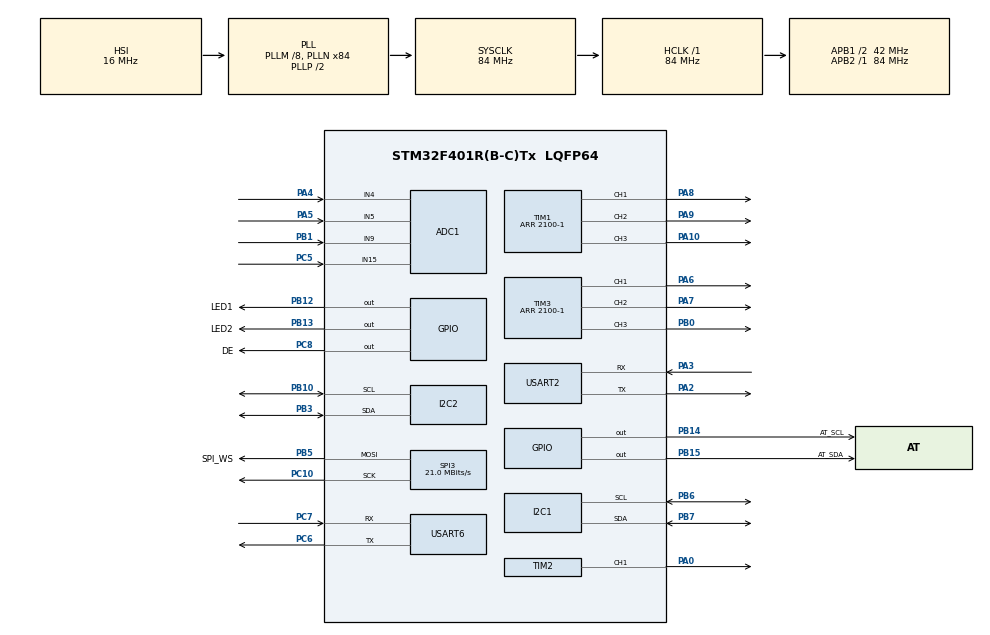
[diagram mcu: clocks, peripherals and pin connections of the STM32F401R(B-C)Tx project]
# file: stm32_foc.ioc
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ADC1.Channel-24\#ChannelRegularConversion=ADC_CHANNEL_9
ADC1.Channel-25\#ChannelInjectedConversion=ADC_CHANNEL_5
ADC1.Channel-26\#ChannelInjectedConversion=ADC_CHANNEL_4
ADC1.Channel-29\#ChannelRegularConversion=ADC_CHANNEL_15
ADC1.ExternalTrigConv=ADC_EXTERNALTRIGCONV_T3_TRGO
ADC1.ExternalTrigInjecConv=ADC_EXTERNALTRIGINJECCONV_T1_CC4
ADC1.InjNumberOfConversion=2
ADC1.InjectedOffset-25\#ChannelInjectedConversion=0
ADC1.InjectedOffset-26\#ChannelInjectedConversion=0
ADC1.InjectedRank-25\#ChannelInjectedConversion=1
ADC1.InjectedRank-26\#ChannelInjectedConversion=2
ADC1.NbrOfConversion=2
ADC1.NbrOfConversionFlag=1
ADC1.Rank-24\#ChannelRegularConversion=1
ADC1.Rank-29\#ChannelRegularConversion=2
ADC1.SamplingTime-24\#ChannelRegularConversion=ADC_SAMPLETIME_144CYCLES
ADC1.SamplingTime-25\#ChannelInjectedConversion=ADC_SAMPLETIME_84CYCLES
ADC1.SamplingTime-26\#ChannelInjectedConversion=ADC_SAMPLETIME_84CYCLES
ADC1.SamplingTime-29\#ChannelRegularConversion=ADC_SAMPLETIME_144CYCLES
ADC1.master=1
Dma.ADC1.0.Direction=DMA_PERIPH_TO_MEMORY
Dma.ADC1.0.FIFOMode=DMA_FIFOMODE_DISABLE
Dma.ADC1.0.Instance=DMA2_Stream0
Dma.ADC1.0.MemDataAlignment=DMA_MDATAALIGN_HALFWORD
Dma.ADC1.0.MemInc=DMA_MINC_ENABLE
Dma.ADC1.0.Mode=DMA_CIRCULAR
Dma.ADC1.0.PeriphDataAlignment=DMA_PDATAALIGN_HALFWORD
Dma.ADC1.0.PeriphInc=DMA_PINC_DISABLE
Dma.ADC1.0.Priority=DMA_PRIORITY_LOW
Dma.Request0=ADC1
Dma.Request1=USART6_RX
Dma.Request2=USART6_TX
Dma.USART6_RX.1.Direction=DMA_PERIPH_TO_MEMORY
Dma.USART6_RX.1.FIFOMode=DMA_FIFOMODE_DISABLE
Dma.USART6_RX.1.Instance=DMA2_Stream1
Dma.USART6_RX.1.MemDataAlignment=DMA_MDATAALIGN_BYTE
Dma.USART6_RX.1.MemInc=DMA_MINC_ENABLE
Dma.USART6_RX.1.Mode=DMA_CIRCULAR
Dma.USART6_RX.1.PeriphDataAlignment=DMA_PDATAALIGN_BYTE
Dma.USART6_RX.1.PeriphInc=DMA_PINC_DISABLE
Dma.USART6_RX.1.Priority=DMA_PRIORITY_LOW
Dma.USART6_TX.2.Direction=DMA_MEMORY_TO_PERIPH
Dma.USART6_TX.2.FIFOMode=DMA_FIFOMODE_DISABLE
Dma.USART6_TX.2.Instance=DMA2_Stream6
Dma.USART6_TX.2.MemDataAlignment=DMA_MDATAALIGN_BYTE
Dma.USART6_TX.2.MemInc=DMA_MINC_ENABLE
Dma.USART6_TX.2.Mode=DMA_NORMAL
Dma.USART6_TX.2.PeriphDataAlignment=DMA_PDATAALIGN_BYTE
Dma.USART6_TX.2.PeriphInc=DMA_PINC_DISABLE
Dma.USART6_TX.2.Priority=DMA_PRIORITY_LOW
I2C1.I2C_Mode=I2C_Standard
I2C2.I2C_Mode=I2C_Fast
Mcu.Family=STM32F4
Mcu.Name=STM32F401R(B-C)Tx
Mcu.Package=LQFP64
NVIC.ADC_IRQn=true\:0\:0\:false\:false\:true\:true\:true\:true
NVIC.DMA2_Stream0_IRQn=true\:0\:0\:false\:false\:true\:false\:true\:true
NVIC.DMA2_Stream1_IRQn=true\:0\:0\:false\:false\:true\:false\:true\:true
NVIC.DMA2_Stream6_IRQn=true\:0\:0\:false\:false\:true\:false\:true\:true
NVIC.PriorityGroup=NVIC_PRIORITYGROUP_4
NVIC.USART2_IRQn=true\:0\:0\:false\:false\:true\:true\:true\:true
NVIC.USART6_IRQn=true\:0\:0\:false\:false\:true\:true\:true\:true
PA0-WKUP.Signal=S_TIM2_CH1_ETR
PA10.GPIO_Speed=GPIO_SPEED_FREQ_HIGH
PA10.Signal=S_TIM1_CH3
PA13.Mode=Serial_Wire
PA13.Signal=SYS_JTMS-SWDIO
PA14.Mode=Serial_Wire
PA14.Signal=SYS_JTCK-SWCLK
PA2.Mode=Asynchronous
PA2.Signal=USART2_TX
PA3.Mode=Asynchronous
PA3.Signal=USART2_RX
PA4.Signal=ADCx_IN4
PA5.Signal=ADCx_IN5
PA6.GPIO_Speed=GPIO_SPEED_FREQ_HIGH
PA6.Signal=S_TIM3_CH1
PA7.GPIO_Speed=GPIO_SPEED_FREQ_HIGH
PA7.Signal=S_TIM3_CH2
PA8.GPIO_PuPd=GPIO_NOPULL
PA8.GPIO_Speed=GPIO_SPEED_FREQ_HIGH
PA8.Signal=S_TIM1_CH1
PA9.GPIO_PuPd=GPIO_NOPULL
PA9.GPIO_Speed=GPIO_SPEED_FREQ_HIGH
PA9.Signal=S_TIM1_CH2
PB0.GPIO_Speed=GPIO_SPEED_FREQ_HIGH
PB0.Signal=S_TIM3_CH3
PB1.Signal=ADCx_IN9
PB10.Mode=I2C
PB10.Signal=I2C2_SCL
PB12.GPIO_Label=LED1
PB12.Signal=GPIO_Output
PB13.GPIO_Label=LED2
PB13.Signal=GPIO_Output
PB14.GPIO_Label=AT_SCL
PB14.Signal=GPIO_Output
PB15.GPIO_Label=AT_SDA
PB15.Signal=GPIO_Output
PB3.Mode=I2C
PB3.Signal=I2C2_SDA
PB5.GPIO_Label=SPI_WS
PB5.Mode=TX_Only_Simplex_Unidirect_Master
PB5.Signal=SPI3_MOSI
PB6.Mode=I2C
PB6.Signal=I2C1_SCL
PB7.Mode=I2C
PB7.Signal=I2C1_SDA
PC10.Mode=TX_Only_Simplex_Unidirect_Master
PC10.Signal=SPI3_SCK
PC5.Signal=ADCx_IN15
PC6.Mode=Asynchronous
PC6.Signal=USART6_TX
PC7.Mode=Asynchronous
PC7.Signal=USART6_RX
PC8.GPIO_Label=DE
PC8.GPIO_PuPd=GPIO_PULLDOWN
PC8.Signal=GPIO_Output
PH0\ -\ OSC_IN.Mode=HSE-External-Clock-Source
PH0\ -\ OSC_IN.Signal=RCC_OSC_IN
PH1\ -\ OSC_OUT.Mode=HSE-External-Clock-Source
PH1\ -\ OSC_OUT.Signal=RCC_OSC_OUT
ProjectManager.HeapSize=0x200
ProjectManager.StackSize=0x400
ProjectManager.TargetToolchain=MDK-ARM V5.32
RCC.48MHZClocksFreq_Value=42000000
RCC.AHBFreq_Value=84000000
RCC.APB1CLKDivider=RCC_HCLK_DIV2
RCC.APB1Freq_Value=42000000
RCC.APB1TimFreq_Value=84000000
RCC.APB2Freq_Value=84000000
RCC.APB2TimFreq_Value=84000000
RCC.CortexFreq_Value=84000000
RCC.HCLKFreq_Value=84000000
RCC.HSE_VALUE=8000000
RCC.HSI_VALUE=16000000
RCC.LSE_VALUE=32768
RCC.PLLM=8
RCC.PLLN=84
RCC.SYSCLKFreq_VALUE=84000000
RCC.SYSCLKSource=RCC_SYSCLKSOURCE_PLLCLK
RCC.VCOOutputFreq_Value=168000000
SH.ADCx_IN15.0=ADC1_IN15,IN15
SH.ADCx_IN4.0=ADC1_IN4,IN4
SH.ADCx_IN5.0=ADC1_IN5,IN5
SH.ADCx_IN9.0=ADC1_IN9,IN9
SH.S_TIM1_CH1.0=TIM1_CH1,PWM Generation1 CH1
SH.S_TIM1_CH2.0=TIM1_CH2,PWM Generation2 CH2
SH.S_TIM1_CH3.0=TIM1_CH3,PWM Generation3 CH3
SH.S_TIM2_CH1_ETR.0=TIM2_CH1,PWM Generation1 CH1
SH.S_TIM3_CH1.0=TIM3_CH1,Output Compare1 CH1
SH.S_TIM3_CH2.0=TIM3_CH2,Output Compare2 CH2
SH.S_TIM3_CH3.0=TIM3_CH3,Output Compare3 CH3
SPI3.CalculateBaudRate=21.0 MBits/s
SPI3.Direction=SPI_DIRECTION_2LINES
SPI3.Mode=SPI_MODE_MASTER
SPI3.VirtualType=VM_MASTER
TIM1.Channel-PWM\ Generation1\ CH1=TIM_CHANNEL_1
TIM1.Channel-PWM\ Generation2\ CH2=TIM_CHANNEL_2
TIM1.Channel-PWM\ Generation3\ CH3=TIM_CHANNEL_3
TIM1.Channel-PWM\ Generation4\ No\ Output=TIM_CHANNEL_4
TIM1.CounterMode=TIM_COUNTERMODE_CENTERALIGNED1
TIM1.OCMode_PWM-PWM\ Generation4\ No\ Output=TIM_OCMODE_PWM2
TIM1.Period=2100-1
TIM1.Pulse-PWM\ Generation4\ No\ Output=1800-1
TIM2.Channel-PWM\ Generation1\ CH1=TIM_CHANNEL_1
TIM3.Channel-Output\ Compare1\ CH1=TIM_CHANNEL_1
TIM3.Channel-Output\ Compare2\ CH2=TIM_CHANNEL_2
TIM3.Channel-Output\ Compare3\ CH3=TIM_CHANNEL_3
TIM3.Period=2100-1
TIM3.TIM_MasterOutputTrigger=TIM_TRGO_UPDATE
USART2.VirtualMode=VM_ASYNC
USART6.VirtualMode=VM_ASYNC
VP_TIM1_VS_ClockSourceINT.Mode=Internal
VP_TIM1_VS_no_output4.Mode=PWM Generation4 No Output
VP_TIM2_VS_ClockSourceINT.Mode=Internal
VP_TIM3_VS_ClockSourceINT.Mode=Internal
board=custom

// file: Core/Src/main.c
/* USER CODE BEGIN Header */
/**
  ******************************************************************************
  * @file           : main.c
  * @brief          : Main program body
  ******************************************************************************
  * @attention
  *
  * Copyright (c) 2026 STMicroelectronics.
  * All rights reserved.
  *
  * This software is licensed under terms that can be found in the LICENSE file
  * in the root directory of this software component.
  * If no LICENSE file comes with this software, it is provided AS-IS.
  *
  ******************************************************************************
  */
/* USER CODE END Header */
#include "main.h"
#include "adc.h"
#include "dma.h"
#include "i2c.h"
#include "spi.h"
#include "tim.h"
#include "usart.h"
#include "gpio.h"

/* USER CODE BEGIN Includes */
#include "current.h"
#include "as5600.h"
#include "foc_math.h"
#include "pi_controller.h"
#include "motor_pwm.h"
#include "motor_cli.h"
#include "vofa.h"
#include <stdio.h>
#include "debug.h"
/* USER CODE END Includes */

/* USER CODE BEGIN PTD */
#define LED1_ON  HAL_GPIO_WritePin(LED1_GPIO_Port,LED1_Pin,GPIO_PIN_SET)
#define LED1_OFF  HAL_GPIO_WritePin(LED1_GPIO_Port,LED1_Pin,GPIO_PIN_RESET)
#define LED2_ON  HAL_GPIO_WritePin(LED2_GPIO_Port,LED2_Pin,GPIO_PIN_SET)
#define LED2_OFF  HAL_GPIO_WritePin(LED2_GPIO_Port,LED2_Pin,GPIO_PIN_RESET)
#define MOTOR2_ALIGN_VOLTAGE 0.5f

typedef enum
{
    MOTOR2_STATE_CALIBRATING = 0,
    MOTOR2_STATE_ALIGN,
    MOTOR2_STATE_READY,
    MOTOR2_STATE_RUNNING,
    MOTOR2_STATE_OPENLOOP,
    MOTOR2_STATE_FAULT

} motor2_state_t;
/* USER CODE END PTD */

/* USER CODE BEGIN PD */

motor2_currentsense_t motor2_current;
as5600_t motor2_encoder;
volatile uint32_t motor2_isr_cnt = 0;
volatile uint32_t isr_cnt_last=0;

/* ---- 编码器/I2C 诊断：用来区分"真 I2C 故障"和"主循环被堵导致的假超时" ----
 * attempts/fails : 累计发起读取次数 / 失败次数
 * consec_fail    : 连续失败次数（判故障只看这个）
 * last_err       : 最近一次 HAL 返回码 1=HAL_ERROR(NACK) 2=HAL_BUSY 3=HAL_TIMEOUT
 * gap_try_max    : 两次"发起读取"之间的最大间隔(ms)，大 = 主循环被阻塞过
 * gap_ok_max     : 两次"成功读取"之间的最大间隔(ms)                              */
volatile uint32_t motor2_enc_attempts = 0;
volatile uint32_t motor2_enc_fails = 0;
volatile uint16_t motor2_enc_consec_fail = 0;
volatile int32_t  motor2_enc_last_err = 0;
volatile uint32_t motor2_enc_last_try_tick = 0;
volatile uint32_t motor2_enc_gap_try_max = 0;
volatile uint32_t motor2_enc_gap_ok_max = 0;
volatile uint32_t motor2_enc_recover_cnt = 0;   /* I2C 总线自愈执行次数 */

/* ---- 电角度外推：编码器 5ms 读一次，20kHz 的 ISR 必须用"当前时刻"的角度 ----
 * 问题：ISR 直接用电角度时最坏滞后 5ms，转子一转 δ=ω_e×5ms 就是几十度。
 *       实测（转子自由、IQ0.5）：iq 波动从锁轴时的 ~1.5 LSB 恶化到 31~51 LSB，
 *       频谱出现 200/400/600Hz 线谱（正好是 5ms 更新率的谐波）——一转动电流环就废。
 * 做法：主循环每次成功读到角度就记下 (机械角, 时刻)，并用两次读数差估算机械角速度
 *       （一阶低通抑制 12bit 编码器的量化噪声）；ISR 里
 *           电角度 = f(机械角_ref + ω·Δt)，Δt = 当前时刻 - 读数时刻
 * 时间基：TIM2 自由运行在 84MHz（main() 里 HAL_TIM_Base_Start），51s 回绕，
 *         Δt 用无符号相减，回绕天然正确。
 * 保护：主循环被 UART dump/CAP 阻塞时 Δt 会很大，外推钳位到 ANGLE_EXTRAP_MAX_S，
 *       并累计 extr_clip 计数（可在 STATUS 里看），避免角度被外推到离谱位置。 */
#define ANGLE_TICK_HZ        84000000.0f
#define ANGLE_EXTRAP_MAX_S   0.010f
#define ANGLE_EXTRAP_MAX_CNT ((uint32_t)(ANGLE_EXTRAP_MAX_S * ANGLE_TICK_HZ))
#define MECH_SPEED_LIMIT     300.0f               /* 机械角速度上限 rad/s（≈2865rpm） */
volatile float    motor2_mech_angle_ref = 0.0f;   /* 最近一次读到的机械角(带方向) */
volatile uint32_t motor2_angle_ref_cnt  = 0;      /* 该读数的 TIM2 计数 */
volatile float    motor2_mech_speed = 0.0f;       /* 滤波后的机械角速度 rad/s */
volatile uint8_t  motor2_mech_speed_valid = 0;    /* 0 = 还不足以估速（首次读数前） */
volatile uint32_t motor2_angle_extrap_clip = 0;   /* 诊断：外推被钳位次数 */
volatile uint32_t motor2_angle_extrap_max_us = 0; /* 诊断：最大外推时长(us) */
static float    mech_prev = 0.0f;
static uint32_t mech_prev_cnt = 0;
static uint8_t  mech_prev_valid = 0;
static uint16_t speed_div_cnt = 0;
static uint16_t caps_div_cnt = 0;

/* ---- 速度环（外环 PI）----
 * 节奏 5ms（每 SPEED_DIV 个 ISR 跑一次，与编码器更新同量级）；
 * 输入 motor2_mech_speed（编码器差分+低通），输出 iq_ref（限幅 ±SPEED_IQ_LIMIT）。
 * 使能：CLI `SPD <rad/s>`；手动 `IQ` 命令会自动退出速度环（人工优先）。
 * 注意 kp 的量纲是 A/(rad/s)，ki 是 A/(rad/s·s)；机械角速度，不是电角速度。 */
#define SPEED_DIV        100                     /* 20kHz/100 = 200Hz = 5ms */
#define SPEED_IQ_LIMIT   0.6f                    /* 速度环最多给多少 iq(A) */
foc_pi_t motor2_pi_s;
volatile float   motor2_speed_ref = 0.0f;        /* rad/s (机械) */
volatile uint8_t motor2_speed_enable = 0;
volatile float   motor2_iq_ref_speed = 0.0f;     /* 速度环输出（供观察） */

/* ---- 摩擦力前馈 ----
 * 为什么需要：低速时环路全靠积分慢慢攒电流，而静摩擦/齿槽是"台阶式"的，
 * 于是表现为"粘住 -> 攒够电流 -> 跳一格(还超调) -> 又粘住"的爬行。
 * 实测：本机静摩擦电流 ≈ 0.019 A（SPD 2 时速度 2s 都是 0，iq 才爬到 0.0185），
 *       SPD 5 时更是先静止 1s、然后一下冲到 7.7 rad/s (超调 54%)。
 *       位置环实测：0.03 比 0.02 好（1.5rad 步进的残差 -3.4° -> +1.7°）。
 * 做法：给定非零时按给定方向叠加一个固定前馈，电流一开始就跨过门槛，不用等积分。
 * 死区：|给定| 小于 SPEED_FF_DEADBAND 时不加，避免零速附近来回蹭。
 * 在线改：FF 0.03 / FF 0 */
#define SPEED_FF_DEFAULT   0.030f
#define SPEED_FF_DEADBAND  0.05f
#define SPEED_FF_RAMP      0.50f   /* 前馈在 |速度给定| 0.05->0.5 rad/s 之间线性升起：
                                    * 防止位置环在目标附近（速度给定很小）还拿满幅前馈来回顶，
                                    * 实测那会让转子以 ±5rad/s 在目标附近蹭。 */
volatile float   motor2_speed_ff = SPEED_FF_DEFAULT;

/* ---- 位置环（最外环）----
 * 结构：位置PI -> 速度给定 -> 速度环 -> iq_ref -> 电流环（三层级联，带宽 0.5Hz / 2.5Hz / 600Hz）。
 * 位置必须自己累圈：编码器是 12bit 绝对角(0~2pi)，只给单圈值，多圈要累加。
 *   在主循环每次成功读到角度时把"回绕修正后的增量"累加到 motor2_pos_mech。
 * 目标：POS x  表示"相对当前位置再转 x 弧度"（正方向与 SPD 正方向一致）。
 * 误差按 ±pi 回绕（走最短路径），跨圈时才不会绕远路。
 * 输出限幅 ±POS_SPD_LIMIT(rad/s)：位置误差再大，速度给定也不会爆掉。
 * 安全：编码器读数间隔过大（主循环被 UART dump 阻塞）时，圈数不可辨 —— 直接判位置失效
 *       并关掉位置环（POS_VALID=0），避免"多转一圈"这种意外动作。
 * 使能：POS 命令（自动打开速度环）；手动 IQ/SPD 命令会退出位置环（人工优先）。 */
#define POS_SPD_LIMIT   40.0f                    /* 位置环输出的速度给定上限 rad/s */
#define POS_GAP_MAX_S   0.030f                   /* 读数间隔超过它 -> 圈数不可辨 */
#define POS_DEADBAND    0.020f                   /* 位置死区(rad,≈±1.15°)：死区内停止追摩擦 */
foc_pi_t motor2_pi_pos;
volatile float   motor2_pos_mech  = 0.0f;        /* 累加机械角(rad, 多圈) */
volatile float   motor2_pos_ref   = 0.0f;        /* 目标(同类累加值) */
volatile float   motor2_pos_err   = 0.0f;        /* 最近一次位置误差 */
volatile uint8_t motor2_pos_enable = 0;
volatile uint8_t motor2_pos_valid  = 1;          /* 0 = 累圈不可信，位置环不能用 */
volatile uint32_t motor2_pos_gap_cnt = 0;        /* 诊断：因间隔过大而失效的次数 */
static uint16_t pos_div_cnt = 0;

/* ---- 速度/位置环抓取(CAPS)：200Hz × 400 点 = 2s ----
 * 内容 pos_mech, pos_ref, speed_ref, mech_speed, iq_ref, iq
 * （电流环的 CAP 只有 20ms，看不了 5ms 的速度环/位置环） */
#define CAPS_N   400
#define CAPS_DIV 100
volatile uint8_t  caps_armed = 0;
volatile uint16_t caps_n = 0;
float caps_buf[CAPS_N][6];

/* 对齐用暂存量：等转子被磁场拉到位并真正停下来，再锁存零位（见 ALIGN 分支注释） */
float    motor2_align_last_mech = 0.0f;
uint8_t  motor2_align_stable_cnt = 0;
uint32_t motor2_align_read_tick = 0;

/* ---- ISR 内 RAM 抓取（看电流环动态/阶跃响应）----
 * 用法：先发 CAP 命令 arm；随后"下一次 ID/IQ 给定变化"开始按 ISR 节奏(50us)记录 CAP_N 点，
 *       填满后主循环把数据以 ASCII 行打入串口（CAP BEGIN / CAP END 包裹，自带标签，无解析歧义）。
 * 抓取内容：id_ref, iq_ref, id, iq, vd, vq —— 20ms 窗口足够看清 1kHz 环路的上升/超调/振荡。
 * 注意：dump 会阻塞主循环约 1.7s（期间编码器不更新），所以抓取时转子应锁住/静止。 */
#define CAP_N 400
volatile uint8_t  cap_armed = 0;      /* CAP 命令置 1，等给定变化触发 */
volatile uint8_t  cap_filling = 0;    /* 正在记录 */
volatile uint16_t cap_n = 0;          /* 已记录点数（>=CAP_N 表示待 dump） */
float cap_buf[CAP_N][6];

float motor2_electrical_zero_offset_rad = 0.0f;
int8_t motor2_sensor_direction = 1;

float motor2_mechanical_angle_rad;
volatile float motor2_electrical_angle_rad;
uint32_t encoder_last_tick;
uint32_t now_tick;
static uint32_t led1_last_tick = 0;
static uint32_t motor2_angle_last_ok_tick = 0;
static uint32_t motor2_align_start_tick = 0U;
static uint8_t  motor2_align_started    = 0U;

foc_pi_t motor2_pi_d;
foc_pi_t motor2_pi_q;

volatile  float motor2_id_ref=0.0f;
volatile  float motor2_iq_ref=0.0f;

float motor2_i_alpha;
float motor2_i_beta;
float motor2_id;
float motor2_iq;

float motor2_vd;
float motor2_vq;
float motor2_v_alpha;
float motor2_v_beta;

float motor2_duty_u;
float motor2_duty_v;
float motor2_duty_w;

volatile uint8_t motor2_fault;
volatile uint8_t motor2_run_enable = 0;

volatile motor2_state_t motor2_state =MOTOR2_STATE_CALIBRATING;
static   motor2_state_t motor2_state_last=MOTOR2_STATE_CALIBRATING;
volatile uint8_t motor2_angle_valid = 0;

uint8_t uart2_rx_byte;
volatile uint8_t motor2_align_request=0;

vofa_t motor2_vofa;

uint8_t led1_state=0;

volatile float motor2_openloop_angle = 0.0f;      // 开环电角度
volatile float motor2_openloop_speed = 5.0f;      // 电角度速度 rad/s
volatile float motor2_openloop_voltage = 1.0f;    // 开环电压幅值
volatile uint8_t motor2_openloop_enable = 0;      // 开环使能
/* USER CODE END PD */

void SystemClock_Config(void);

/* USER CODE BEGIN 0 */

#ifdef __GNUC__
int __io_putchar(int ch)
#else
int fputc(int ch, FILE *f)
#endif
{
    HAL_UART_Transmit(&huart2, (uint8_t *)&ch, 1, HAL_MAX_DELAY);
    return ch;
}
/* USER CODE END 0 */

int main(void)
{

  /* MCU Configuration--------------------------------------------------------*/

  /* Reset of all peripherals, Initializes the Flash interface and the Systick. */
  HAL_Init();

  /* Configure the system clock */
  SystemClock_Config();

  /* Initialize all configured peripherals */
  MX_GPIO_Init();
  MX_DMA_Init();
  MX_ADC1_Init();
  MX_I2C1_Init();
  MX_USART6_UART_Init();
  MX_TIM1_Init();
  MX_I2C2_Init();
  MX_USART2_UART_Init();
  MX_SPI3_Init();
  MX_TIM2_Init();
  MX_TIM3_Init();
  /* USER CODE BEGIN 2 */

  DBG("Hello FOC\r\n");

  vofa_init(&motor2_vofa);
  motor_cli_init();
  DBG("Init: cli ok, vofa_enable=%d\r\n", motor2_vofa.vofa_enable);
  HAL_UART_Receive_IT(&huart2,&uart2_rx_byte,1);
  as5600_init(&motor2_encoder, &hi2c1);

  /* TIM2 自由运行当 84MHz 时间戳（电角度外推要用，见文件上方的说明） */
  HAL_TIM_Base_Start(&htim2);

  encoder_last_tick = HAL_GetTick();
  motor2_current_init(&motor2_current,0,0);
  motor2_currentsense_calibration_start(&motor2_current);

  /* 电流环 PI 上电默认值（d/q 用同一套：受控对象相同）。
   * kp = 2, ki = 10000 为实测标定值（20kHz 电流环，dt = 50us）：
   *   - ki/kp = 0.2ms，正好等于 L/R = 0.68mH / 3.4ohm，做零极点对消；
   *   - 实测：稳态误差 ~1%，上升 0.25~0.30ms，kp=2 时超调约 25%；
   *     锁轴验证 vq = 0.34V @ iq = 0.1A 对应 R = 3.4ohm，量纲自洽。
   * 也可以在运行时用 CLI 改：PID_D kp ki / PID_Q kp ki（掉电丢失）。
   * 输出限幅 ±6V；实际可用矢量电压由 foc_svpwm 的 span 限幅再压到约 4V。 */
  foc_pi_init(&motor2_pi_d,2.0f,10000.0f,-6.0f,6.0f);
  foc_pi_init(&motor2_pi_q,2.0f,10000.0f,-6.0f,6.0f);
  /* 速度环 PI 上电默认值：实测扫出来的（CAPS 抓 2s 阶跃）
   *   kp=0.001 ki=0.005 -> 上升 ~400ms、超调 4%、稳态误差 -0.2%、波动 ±1%（给定 30rad/s）
   * 注意量级：本机机械阻尼很小，kp 给到 0.005 就开始振，ki 给到 0.1 会出现极限环
   * （纯惯量对象上积分=双积分器，相位天生 180°），所以别凭直觉往上加。
   * 在线改：PID_S 0.001 0.005 */
  foc_pi_init(&motor2_pi_s,0.001f,0.005f,-SPEED_IQ_LIMIT,SPEED_IQ_LIMIT);
  /* 位置环 PI 上电默认值：kp 量纲 1/s（输出=速度给定=kp×位置误差），ki 是 1/s²。
   * 目标带宽 ~0.5Hz，必须远低于速度环的 ~2.5Hz —— 三层级联要保证带宽阶梯。 */
  foc_pi_init(&motor2_pi_pos,3.0f,1.0f,-POS_SPD_LIMIT,POS_SPD_LIMIT);
  DBG("Init: peripherals started\r\n");
  HAL_ADCEx_InjectedStart_IT(&hadc1);
  HAL_TIM_OC_Start(&htim1, TIM_CHANNEL_4);

  /* USER CODE END 2 */

  /* Infinite loop */
  /* USER CODE BEGIN WHILE */
  while (1)
  {

        /* 【已停用】这段 500ms 方波测试给定会覆盖 CLI 的 ID 命令（主循环每轮都写 id_ref），
         * 导致用 `ID x` 做稳态/阶跃测试时 id_ref 实际在 0/0.2 之间跳变，测出来没有意义。
         * 需要方波给定做阶跃测试时，再放开它，或用命令面板连续发 ID 0.2 / ID 0。 */
#if 0
        if (((HAL_GetTick() / 500U) & 1U) != 0U)
        {
            motor2_id_ref = 0.2f;
        }
        else
        {
            motor2_id_ref = 0.0f;
        }
#endif

        static uint32_t tim_dbg_tick = 0;
//        static uint32_t enc_fails_last = 0;   /* 下面诊断块打开时一起放开 */
        if((now_tick - tim_dbg_tick) >= 1000){
            tim_dbg_tick = now_tick;
//            /* 诊断怎么看：
//             *   gapTry 大(>500ms)  → 主循环被 UART 发送阻塞过：那段时间根本没发起读取，
//             *                        这种情况属于"假超时"，与 I2C 硬件无关
//             *   fails 持续增长且 st!=0 → I2C 真的在读失败：
//             *                        st=1 NACK(从机没应答/干扰)  2 BUSY  3 TIMEOUT(总线被拉死)
//             *   gapOk 大但没有 fail → 读数一直是成功的，只是间隔被拉长
//             * scl/sda = PB6/PB7 引脚当前实际电平(AF 模式也能读 IDR)：
//             *   两条都=1 → 总线其实是空闲的，那 HAL_BUSY 是外设/句柄状态卡住；
//             *   有一条=0 → 总线被物理拉住（从机没松手 / 上拉不足 / 短路）       */
//            {
//                uint8_t scl_lvl = (HAL_GPIO_ReadPin(GPIOB, GPIO_PIN_6) == GPIO_PIN_SET) ? 1U : 0U;
//                uint8_t sda_lvl = (HAL_GPIO_ReadPin(GPIOB, GPIO_PIN_7) == GPIO_PIN_SET) ? 1U : 0U;
//                DBG("isr=%lu/s enc try=%lu fails=%lu(+%lu) consec=%u st=%ld rc=%lu scl=%u sda=%u gapTry=%lums gapOk=%lums\r\n",
//                    (unsigned long)(motor2_isr_cnt - isr_cnt_last),
//                    (unsigned long)motor2_enc_attempts,
//                    (unsigned long)motor2_enc_fails,
//                    (unsigned long)(motor2_enc_fails - enc_fails_last),
//                    (unsigned)motor2_enc_consec_fail,
//                    (long)motor2_enc_last_err,
//                    (unsigned long)motor2_enc_recover_cnt,
//                    (unsigned)scl_lvl,
//                    (unsigned)sda_lvl,
//                    (unsigned long)motor2_enc_gap_try_max,
//                    (unsigned long)motor2_enc_gap_ok_max);
//            }
//            enc_fails_last = motor2_enc_fails;
//            motor2_enc_gap_try_max = 0;
//            motor2_enc_gap_ok_max = 0;              /* ← 新增 */
//            isr_cnt_last = motor2_isr_cnt;
        }

        /* RAM 抓取数据回传（ASCII 带标签，避免二进制解析歧义） */
        if (cap_n >= CAP_N) {
            uint16_t k;
            DBG("CAP BEGIN n=%u\r\n", (unsigned)CAP_N);
            for (k = 0; k < CAP_N; k++) {
                DBG("C %u %.4f %.4f %.4f %.4f %.4f %.4f\r\n", (unsigned)k,
                    cap_buf[k][0], cap_buf[k][1], cap_buf[k][2],
                    cap_buf[k][3], cap_buf[k][4], cap_buf[k][5]);
            }
            DBG("CAP END\r\n");
            cap_n = 0;
        }

        /* 速度环/位置环抓取回传：S idx pos_mech pos_ref speed_ref speed iq_ref iq */
        if (caps_n >= CAPS_N) {
            uint16_t k;
            DBG("CAPS BEGIN n=%u\r\n", (unsigned)CAPS_N);
            for (k = 0; k < CAPS_N; k++) {
                DBG("S %u %.4f %.4f %.4f %.4f %.4f %.4f\r\n", (unsigned)k,
                    caps_buf[k][0], caps_buf[k][1], caps_buf[k][2],
                    caps_buf[k][3], caps_buf[k][4], caps_buf[k][5]);
            }
            DBG("CAPS END\r\n");
            caps_n = 0;
        }

        motor_cli_poll();
        now_tick = HAL_GetTick();

        if((now_tick-led1_last_tick)>=500){
            led1_last_tick=now_tick;
            led1_state = !led1_state;
            if(led1_state)  LED1_ON;
            else            LED1_OFF;
        }
        if((now_tick-encoder_last_tick)>=5){
            HAL_StatusTypeDef enc_st;
            uint32_t enc_gap;

            encoder_last_tick=now_tick;

            /* 记录"发起读取"的间隔：主循环被 UART 阻塞时不发起读取，这里会变大 */
            motor2_enc_attempts++;
            enc_gap = now_tick - motor2_enc_last_try_tick;
            if(enc_gap > motor2_enc_gap_try_max){ motor2_enc_gap_try_max = enc_gap; }
            motor2_enc_last_try_tick = now_tick;

            enc_st = as5600_read_mechanical_angle_rad(&motor2_encoder,&motor2_mechanical_angle_rad);
            if(enc_st==HAL_OK){
                /* ---- 机械角/时刻/角速度：供 ISR 做电角度外推（见文件上方说明）---- */
                float    mech     = motor2_sensor_direction * motor2_mechanical_angle_rad;
                uint32_t now_cnt  = TIM2->CNT;

                if(mech_prev_valid){
                    /* 编码器是 12bit 绝对角(0~2pi)，先做回绕修正 */
                    float d = mech - mech_prev;
                    if(d >  3.14159265f){ d -= 6.28318531f; }
                    if(d < -3.14159265f){ d += 6.28318531f; }
                    /* 多圈位置累加（位置环用）。前提是两次读数间隔够短，
                     * 否则"转过几圈"不可辨 —— 见 dt 判断 */
                    motor2_pos_mech += d;
                    {
                        float dt = (float)(uint32_t)(now_cnt - mech_prev_cnt) / ANGLE_TICK_HZ;
                        /* dt 太大 = 主循环刚被 UART dump 阻塞过，这段差不可信，丢弃 */
                        if((dt > 0.0002f) && (dt < 0.2f)){
                            float w = d / dt;
                            /* 一阶低通：编码器 1LSB=0.088°机械，5ms 差分噪声约 ±0.6rad/s，
                             * 系数 0.25 ≈ 20ms 时间常数；外推只有 5ms，噪声放大有限 */
                            motor2_mech_speed += 0.25f * (w - motor2_mech_speed);
                            /* 编码器偶发跳数（或回绕算错）会给出离谱的速度，
                             * 钳一下避免外推角度被甩飞：300rad/s ≈ 2865rpm，远超本机范围 */
                            if(motor2_mech_speed >  MECH_SPEED_LIMIT){ motor2_mech_speed =  MECH_SPEED_LIMIT; }
                            if(motor2_mech_speed < -MECH_SPEED_LIMIT){ motor2_mech_speed = -MECH_SPEED_LIMIT; }
                            motor2_mech_speed_valid = 1U;
                        }
                        else if(dt >= POS_GAP_MAX_S){
                            /* 间隔过大：这一段的圈数不可辨，位置失效，
                             * 并关掉位置环（否则可能驱动到"差一圈"的错误目标） */
                            if(motor2_pos_valid){
                                motor2_pos_gap_cnt++;
                                motor2_pos_valid  = 0U;
                                motor2_pos_enable = 0U;
                            }
                        }
                    }
                }
                mech_prev       = mech;
                mech_prev_cnt   = now_cnt;
                mech_prev_valid = 1U;
                motor2_mech_angle_ref = mech;
                motor2_angle_ref_cnt  = now_cnt;

                motor2_electrical_angle_rad =foc_mechanical_to_electrical_angle(mech,7,motor2_electrical_zero_offset_rad);
                motor2_angle_valid = 1;
                motor2_enc_consec_fail = 0;
                enc_gap = now_tick - motor2_angle_last_ok_tick;
                if(enc_gap > motor2_enc_gap_ok_max){ motor2_enc_gap_ok_max = enc_gap; }
                motor2_angle_last_ok_tick = now_tick;
            }
            else{
                motor2_enc_fails++;
                motor2_enc_last_err = (int32_t)enc_st;
                if(motor2_enc_consec_fail < 0xFFFF){ motor2_enc_consec_fail++; }
                /* 只在"连败开始"时打印一次，避免真故障时刷屏把主循环彻底堵死 */
                if(motor2_enc_consec_fail == 1){
                    DBG("ENC fail st=%ld gap=%lums\r\n",
                        (long)enc_st,
                        (unsigned long)(now_tick - motor2_angle_last_ok_tick));
                }
                /* 连续失败到第 6 次：先执行一次 I2C 总线自愈。
                 * st=2(HAL_BUSY) 就是总线被拉住（从机停在半个字节里），
                 * 不打 9 个时钟永远好不了；自愈成功则下次读取成功、consec_fail 自动清零 */
                if(motor2_enc_consec_fail == 6){
                    motor2_enc_recover_cnt++;
                    DBG("ENC: 6 consec fails (st=%ld) -> I2C bus recover #%lu\r\n",
                        (long)enc_st, (unsigned long)motor2_enc_recover_cnt);
                    if(as5600_bus_recover(&motor2_encoder) == 0){
                        DBG("  -> SCL held low by AS5600/hardware: software cannot fix, power-cycle the AS5600\r\n");
                    }else{
                        DBG("  -> SDA stuck: clocked 9 bits\r\n");
                    }
                }
                /* 自愈后仍连续失败到 20 次（≈100ms）才判故障：确实坏透了才停机。
                 * 只在第 20 次打印一次（fault 一旦置位会保持，不必重复设定） */
                if(motor2_enc_consec_fail == 20){
                        motor2_angle_valid = 0;
                        motor2_fault = 1;
                        DBG("ENCODER: fault (20 consec fails, st=%ld)\r\n", (long)enc_st);
                }
            }

        }
        if(motor2_state != motor2_state_last){
                DBG("STATE -> %d\r\n", (int)motor2_state);
                motor2_state_last = motor2_state;
         }
        if (motor2_state == MOTOR2_STATE_CALIBRATING){
            if ((motor2_current.offset_calibrated != 0U) &&(motor2_angle_valid != 0)){
                    DBG("Calib done...");
                    motor2_state = MOTOR2_STATE_ALIGN;
                    DBG("Calib done: offset_calibrated=1, motor2_angle_valid=1\r\n");
            }
        }

        if(motor2_state==MOTOR2_STATE_ALIGN){
            if((motor2_align_request !=0)&&(motor2_run_enable == 0)&&(motor2_align_started ==0)){

                motor2_align_request=0;
                DBG("ALIGN: request accepted\r\n");
                if (foc_svpwm(MOTOR2_ALIGN_VOLTAGE,0.0f,12.0f,&motor2_duty_u,&motor2_duty_v,&motor2_duty_w) == 0){
                      motor2_fault = 1;
                      DBG("ALIGN: svpwm fail\r\n");
                }
                else if (motor2_pwm_start() != HAL_OK){
                      motor2_fault = 1;
                      DBG("ALIGN: pwm start fail\r\n");
                }
                else{

                      motor2_pwm_set_duty(motor2_duty_u,motor2_duty_v,motor2_duty_w);
                      motor2_align_start_tick =now_tick;
                      motor2_align_started    =1;
                      motor2_align_stable_cnt = 0;      /* 复位对齐稳定性判断 */
                      motor2_align_last_mech  = 0.0f;
                      motor2_align_read_tick  = 0;
                      DBG("ALIGN: pwm started\r\n");

                }

            }
            if(motor2_align_started!=0){

                /* 不能固定 500ms 读一次就当零位：转子被磁场拉到位后会在 ~19Hz 上欠阻尼振荡，
                 * 振荡中途读数会让零位偏几十度 -> 之后"纯 d 轴电流"还会推动转子。
                 * 做法：500ms 之后每 50ms 读一次，连续 3 次(≈150ms)几乎不动才认为稳定并锁存；
                 *       最长等 3s 兜底。 */
                if(((uint32_t)(now_tick - motor2_align_start_tick)>=500) &&
                   ((uint32_t)(now_tick - motor2_align_read_tick) >= 50)){

                      motor2_align_read_tick = now_tick;
                      if (as5600_read_mechanical_angle_rad(&motor2_encoder,&motor2_mechanical_angle_rad) == HAL_OK){
                            float dmech = motor2_mechanical_angle_rad - motor2_align_last_mech;
                            if (dmech < 0.0f) { dmech = -dmech; }
                            if (dmech < 0.005f) { motor2_align_stable_cnt++; }
                            else                { motor2_align_stable_cnt = 0; }
                            motor2_align_last_mech = motor2_mechanical_angle_rad;

                            motor2_electrical_zero_offset_rad =foc_mechanical_to_electrical_angle(motor2_sensor_direction*motor2_mechanical_angle_rad,7,0.0f);
                            motor2_angle_valid = 1U;

                            if((motor2_align_stable_cnt >= 3) ||
                               ((uint32_t)(now_tick - motor2_align_start_tick) >= 3000)){
                                  DBG("ALIGN: done, offset=%.3f (t=%lums)\r\n",
                                      motor2_electrical_zero_offset_rad,
                                      (unsigned long)(now_tick - motor2_align_start_tick));
                                  motor2_pwm_stop();
                                  motor2_align_started = 0U;
                                  motor2_align_stable_cnt = 0;
                                  motor2_state=MOTOR2_STATE_READY;
                            }
                      }
                      else{
                            motor2_fault = 1;
                            DBG("ALIGN: encoder read fail\r\n");
                            motor2_pwm_stop();
                            motor2_align_started = 0U;
                            motor2_state = MOTOR2_STATE_FAULT;
                      }

                  }
            }

        }
        /* OPENLOOP 进入条件 */
        if(motor2_state == MOTOR2_STATE_READY){
            if(motor2_openloop_enable != 0U){
                if(motor2_pwm_start() == HAL_OK){
                motor2_openloop_angle = 0.0f;   // 重置角度
                motor2_state = MOTOR2_STATE_OPENLOOP;
                DBG("OPENLOOP: started\r\n");
            }
            else{
                motor2_fault = 1;
            }
        }
        }
        if (motor2_state == MOTOR2_STATE_READY){
            if (motor2_run_enable != 0U){
                if (motor2_pwm_start() == HAL_OK){
                    motor2_state = MOTOR2_STATE_RUNNING;
                    DBG("RUN: pwm started\r\n");
                }
                else
                {
                    motor2_fault = 1;
                    DBG("RUN: pwm start fail\r\n");
                }
            }
        }
        if (motor2_state == MOTOR2_STATE_RUNNING)
        {
            if (motor2_run_enable == 0U)
            {
                motor2_pwm_stop();
                motor2_state = MOTOR2_STATE_READY;
                DBG("STOP: pwm stopped\r\n");
            }
        }
        /* OPENLOOP 退出条件 */
        if(motor2_state == MOTOR2_STATE_OPENLOOP){
            if(motor2_openloop_enable == 0U){
                motor2_pwm_stop();
                motor2_state = MOTOR2_STATE_READY;
                DBG("OPENLOOP: stopped\r\n");
            }
        }
        if (motor2_fault != 0U)
        {
            motor2_run_enable = 0U;
            if (motor2_state != MOTOR2_STATE_FAULT)
            {
                motor2_pwm_stop();
                motor2_state = MOTOR2_STATE_FAULT;
                DBG("FAULT: entered\r\n");
            }
        }
        if(motor2_vofa.vofa_send_flag==1){
            static uint32_t vofa_send_cnt = 0;
            vofa_send(motor2_vofa.vofa_data,VOFA_DATA_NUM);
            motor2_vofa.vofa_send_flag=0;
            vofa_send_cnt++;
            if(vofa_send_cnt == 1){
            DBG("VOFA: first frame sent\r\n");
            }
        }

    /* USER CODE END WHILE */

  }
}

void SystemClock_Config(void)
{
  RCC_OscInitTypeDef RCC_OscInitStruct = {0};
  RCC_ClkInitTypeDef RCC_ClkInitStruct = {0};

  /** Configure the main internal regulator output voltage
  */
  __HAL_RCC_PWR_CLK_ENABLE();
  __HAL_PWR_VOLTAGESCALING_CONFIG(PWR_REGULATOR_VOLTAGE_SCALE2);

  /** Initializes the RCC Oscillators according to the specified parameters
  * in the RCC_OscInitTypeDef structure.
  */
  RCC_OscInitStruct.OscillatorType = RCC_OSCILLATORTYPE_HSI;
  RCC_OscInitStruct.HSIState = RCC_HSI_ON;
  RCC_OscInitStruct.HSICalibrationValue = RCC_HSICALIBRATION_DEFAULT;
  RCC_OscInitStruct.PLL.PLLState = RCC_PLL_ON;
  RCC_OscInitStruct.PLL.PLLSource = RCC_PLLSOURCE_HSI;
  RCC_OscInitStruct.PLL.PLLM = 8;
  RCC_OscInitStruct.PLL.PLLN = 84;
  RCC_OscInitStruct.PLL.PLLP = RCC_PLLP_DIV2;
  RCC_OscInitStruct.PLL.PLLQ = 4;
  if (HAL_RCC_OscConfig(&RCC_OscInitStruct) != HAL_OK)
  {
    Error_Handler();
  }

  /** Initializes the CPU, AHB and APB buses clocks
  */
  RCC_ClkInitStruct.ClockType = RCC_CLOCKTYPE_HCLK|RCC_CLOCKTYPE_SYSCLK
                              |RCC_CLOCKTYPE_PCLK1|RCC_CLOCKTYPE_PCLK2;
  RCC_ClkInitStruct.SYSCLKSource = RCC_SYSCLKSOURCE_PLLCLK;
  RCC_ClkInitStruct.AHBCLKDivider = RCC_SYSCLK_DIV1;
  RCC_ClkInitStruct.APB1CLKDivider = RCC_HCLK_DIV2;
  RCC_ClkInitStruct.APB2CLKDivider = RCC_HCLK_DIV1;

  if (HAL_RCC_ClockConfig(&RCC_ClkInitStruct, FLASH_LATENCY_2) != HAL_OK)
  {
    Error_Handler();
  }
}

/* USER CODE BEGIN 4 */

/* FAULT 清除：回到 READY，等新的 ALIGN / OPENLOOP / RUN 命令。
 * 一并清掉 openloop_enable（否则状态机一回 READY 就会自动重进开环），
 * 并复位编码器连败计数，让下一次运行从干净状态开始。 */
void motor2_fault_clear(void)
{
    motor2_fault = 0;
    motor2_run_enable = 0;
    motor2_openloop_enable = 0;
    /* 外环也使能一并清掉：否则清完故障再 RUN，速度环/位置环会直接朝旧给定冲过去 */
    motor2_speed_enable = 0;
    motor2_pos_enable   = 0;
    motor2_iq_ref       = 0.0f;
    motor2_align_request = 0;
    motor2_align_started = 0;
    motor2_enc_consec_fail = 0;
    motor2_state = MOTOR2_STATE_READY;
    DBG("FAULT cleared -> READY\r\n");
}

/* 给 CLI 用：状态机当前状态号
 * 0=CALIBRATING 1=ALIGN 2=READY 3=RUNNING 4=OPENLOOP 5=FAULT */
int motor2_state_get(void)
{
    return (int)motor2_state;
}

void HAL_ADCEx_InjectedConvCpltCallback(ADC_HandleTypeDef *hadc){
    volatile uint16_t adc_a_raw;
    volatile uint16_t adc_b_raw;
    static uint16_t vofa_count = 0;

     motor2_isr_cnt++;

    if(hadc->Instance==ADC1){
        adc_a_raw=(uint16_t)HAL_ADCEx_InjectedGetValue(hadc,ADC_INJECTED_RANK_1);
        adc_b_raw=(uint16_t)HAL_ADCEx_InjectedGetValue(hadc,ADC_INJECTED_RANK_2);
        if(!motor2_current.offset_calibrated){
              motor2_currentsense_calibration_sample(&motor2_current,adc_a_raw,adc_b_raw);
              return;
        }
        motor2_currentsense_update(&motor2_current,adc_a_raw,adc_b_raw);
        if(motor2_state == MOTOR2_STATE_OPENLOOP){
            /* 开环：自己生成电角度 */
            motor2_openloop_angle += motor2_openloop_speed * 0.00005f;  // 50us 周期
            if(motor2_openloop_angle > 6.2831853f){
            motor2_openloop_angle -= 6.2831853f;
            }

            /* 固定电压矢量：Vd=0, Vq=voltage */
                motor2_vd = 0.0f;
                motor2_vq = motor2_openloop_voltage;

            /* 反 Park */
            foc_inverse_park_transform(motor2_vd, motor2_vq,
                               motor2_openloop_angle,
                               &motor2_v_alpha, &motor2_v_beta);
        }
        else if(motor2_state == MOTOR2_STATE_RUNNING){
            /* ---- ① 电角度外推到当前时刻（编码器 5ms 才读一次，这里是 50us 一拍）----
             * 这是"转子一转电流环就废"的根治：之前 ISR 直接用主循环写下的角度，
             * 最坏滞后 5ms，ω_e=100rad/s 时就是 28° 的坐标系偏差。 */
            {
                uint32_t dcnt = (uint32_t)(TIM2->CNT - motor2_angle_ref_cnt);
                if(dcnt > ANGLE_EXTRAP_MAX_CNT){
                    dcnt = ANGLE_EXTRAP_MAX_CNT;            /* 主循环被 dump 阻塞时的保护 */
                    motor2_angle_extrap_clip++;
                }
                if(dcnt > motor2_angle_extrap_max_us * 84U){
                    motor2_angle_extrap_max_us = dcnt / 84U;
                }
                if(motor2_mech_speed_valid){
                    float mech = motor2_mech_angle_ref
                               + motor2_mech_speed * ((float)dcnt / ANGLE_TICK_HZ);
                    motor2_electrical_angle_rad =
                        foc_mechanical_to_electrical_angle(mech,7,motor2_electrical_zero_offset_rad);
                }
            }

            /* ---- ② 位置环（最外环，与速度环同一节拍，输出直接改速度给定）---- */
            if(motor2_pos_enable){
                pos_div_cnt++;
                if(pos_div_cnt >= SPEED_DIV){
                    float pos_err;
                    pos_div_cnt = 0;
                    if(!motor2_pos_valid){
                        motor2_pos_enable = 0;      /* 累圈不可信：退出位置环，避免跑错整圈 */
                        motor2_iq_ref = 0.0f;
                    }
                    else{
                        pos_err = motor2_pos_ref - motor2_pos_mech;
                        /* 按 ±pi 回绕：跨圈时走最短路径 */
                        while(pos_err >  3.14159265f){ pos_err -= 6.28318531f; }
                        while(pos_err < -3.14159265f){ pos_err += 6.28318531f; }
                        motor2_pos_err = pos_err;
                        if((pos_err < POS_DEADBAND) && (pos_err > -POS_DEADBAND)){
                            /* 死区（≈±1.15°）：不再和静摩擦较劲。
                             * 输出 0 速度给定，并把内环(速度环)积分也清掉 ——
                             * 否则速度环积分会慢慢把电流顶到摩擦门槛，又蹭起来。 */
                            motor2_speed_ref = 0.0f;
                            motor2_pi_pos.integral = 0.0f;
                            foc_pi_reset(&motor2_pi_s);
                        }
                        else{
                            motor2_speed_ref = foc_pi_update(&motor2_pi_pos, pos_err,
                                                    (float)SPEED_DIV / 20000.0f);
                        }
                        motor2_speed_enable = 1;    /* 位置环要工作，内环(速度环)必须在环 */
                    }
                }
            }
            else{
                pos_div_cnt = 0;
            }

            /* ---- ③ 速度环（外环 PI，5ms 一拍）----
             * 用外推后的电角度做电流环、用机械角速度做速度环，两者同一套角度来源。 */
            if(motor2_speed_enable){
                speed_div_cnt++;
                if(speed_div_cnt >= SPEED_DIV){
                    float iq_cmd, iq_ff;
                    speed_div_cnt = 0;
                    iq_cmd = foc_pi_update(&motor2_pi_s,
                                            motor2_speed_ref - motor2_mech_speed,
                                            (float)SPEED_DIV / 20000.0f);
                    /* 摩擦力前馈：按给定方向叠加，但要随 |速度给定| 逐渐升起。
                     * 满幅前馈 = 0.03A 比静摩擦门槛(0.019A)还大，如果在目标附近一直满幅，
                     * 就会把转子顶得来回蹭（实测 SPD=-5rad/s 摇摆、位置 ±2° 抖）。 */
                    iq_ff = 0.0f;
                    {
                        float s   = motor2_speed_ref;
                        float mag = (s >= 0.0f) ? s : -s;
                        if(mag > SPEED_FF_DEADBAND){
                            float g = (mag - SPEED_FF_DEADBAND) /
                                      (SPEED_FF_RAMP - SPEED_FF_DEADBAND);
                            if(g > 1.0f){ g = 1.0f; }
                            iq_ff = (s >= 0.0f) ? (motor2_speed_ff * g)
                                                : (-motor2_speed_ff * g);
                        }
                    }
                    iq_cmd += iq_ff;
                    if(iq_cmd >  SPEED_IQ_LIMIT){ iq_cmd =  SPEED_IQ_LIMIT; }
                    if(iq_cmd < -SPEED_IQ_LIMIT){ iq_cmd = -SPEED_IQ_LIMIT; }
                    motor2_iq_ref_speed = iq_cmd;
                    motor2_iq_ref = iq_cmd;
                }
            }
            else{
                speed_div_cnt = 0;
            }

            /* 闭环 */
                /* 用滤波后的电流做 Clarke/Park：原始读数分辨率只有 3.22mA/LSB
                 * 且带 3~6 LSB 抖动，直接进 PI 会被放大成真实的电流摆动（详见 current.h） */
                foc_clarke_transform(motor2_current.current_a_f, motor2_current.current_b_f,
                         &motor2_i_alpha, &motor2_i_beta);
                foc_park_transform(motor2_i_alpha, motor2_i_beta,
                       motor2_electrical_angle_rad, &motor2_id, &motor2_iq);
                motor2_vd = foc_pi_update(&motor2_pi_d, motor2_id_ref - motor2_id, 0.00005f);
                motor2_vq = foc_pi_update(&motor2_pi_q, motor2_iq_ref - motor2_iq, 0.00005f);
                foc_inverse_park_transform(motor2_vd, motor2_vq,
                               motor2_electrical_angle_rad,
                               &motor2_v_alpha, &motor2_v_beta);
                /* RAM 抓取：CAP 之后的第一次给定变化开始记录（每 50us 一点） */
                if (cap_filling && (cap_n < CAP_N)) {
                    cap_buf[cap_n][0] = motor2_id_ref;
                    cap_buf[cap_n][1] = motor2_iq_ref;
                    cap_buf[cap_n][2] = motor2_id;
                    cap_buf[cap_n][3] = motor2_iq;
                    cap_buf[cap_n][4] = motor2_vd;
                    cap_buf[cap_n][5] = motor2_vq;
                    cap_n++;
                    if (cap_n >= CAP_N) { cap_filling = 0; }
                }
                /* 速度环抓取（CAPS）：200Hz 采样，2s 窗口，看速度阶跃/跟踪 */
                if (caps_armed) {
                    caps_div_cnt++;
                    if (caps_div_cnt >= CAPS_DIV) {
                        caps_div_cnt = 0;
                        if (caps_n < CAPS_N) {
                            caps_buf[caps_n][0] = motor2_pos_mech;
                            caps_buf[caps_n][1] = motor2_pos_ref;
                            caps_buf[caps_n][2] = motor2_speed_ref;
                            caps_buf[caps_n][3] = motor2_mech_speed;
                            caps_buf[caps_n][4] = motor2_iq_ref;
                            caps_buf[caps_n][5] = motor2_iq;
                            caps_n++;
                            if (caps_n >= CAPS_N) { caps_armed = 0; }
                        }
                    }
                }
        }
        else{
                foc_pi_reset(&motor2_pi_d);
                foc_pi_reset(&motor2_pi_q);
                foc_pi_reset(&motor2_pi_s);
                foc_pi_reset(&motor2_pi_pos);
                speed_div_cnt = 0;
                pos_div_cnt   = 0;
                caps_div_cnt  = 0;
                motor2_vd = 0.0f;
                motor2_vq = 0.0f;
                motor2_v_alpha = 0.0f;
                motor2_v_beta = 0.0f;
                return;
        }
        if(motor2_vofa.vofa_enable){
            vofa_count++;
            if(vofa_count>=100){
                vofa_count=0;
                if(motor2_vofa.vofa_send_flag==0){
                    vofa_capture(motor2_vofa.vofa_data);
                    motor2_vofa.vofa_send_flag=1;
                }
            }

        }

        if (foc_svpwm(motor2_v_alpha, motor2_v_beta,12.0f, &motor2_duty_u, &motor2_duty_v, &motor2_duty_w) == 0)
        {
            motor2_fault = 1;
            return;
        }
        if (((motor2_run_enable != 0U) || (motor2_openloop_enable != 0U))
            && (motor2_fault == 0U)){

                motor2_pwm_set_duty(motor2_duty_u, motor2_duty_v, motor2_duty_w);
            }

    }

}

void HAL_UART_RxCpltCallback(UART_HandleTypeDef *huart){

    if(huart->Instance == USART2){

        motor_cli_rx_char(uart2_rx_byte);
        HAL_UART_Receive_IT(&huart2,&uart2_rx_byte,1);

    }

}

/* USER CODE END 4 */

void Error_Handler(void)
{
  __disable_irq();
  while (1)
  {
  }
}
